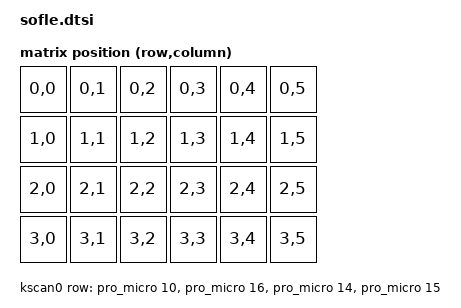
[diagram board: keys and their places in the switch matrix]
/*
 * Copyright (c) 2020 The ZMK Contributors
 *
 * SPDX-License-Identifier: MIT
 */

#include <dt-bindings/zmk/matrix_transform.h>
#include <zephyr/dt-bindings/input/input-event-codes.h>
/* Reference: https://docs.zephyrproject.org/apidoc/latest/group__input__events.html */
#include <input/processors.dtsi>
#include "layouts.dtsi"
#include <dt-bindings/zmk/pointing.h>


&josefadamcik_sofle_layout {
    transform = <&default_transform>;
};

/ {
    chosen {
        zmk,kscan = &kscan0;
    };

    default_transform: keymap_transform_0 {
        compatible = "zmk,matrix-transform";
        columns = <6>;
        rows = <4>;


        map = <
            RC(0,0) RC(0,1) RC(0,2) RC(0,3) RC(0,4) RC(0,5)
            RC(1,0) RC(1,1) RC(1,2) RC(1,3) RC(1,4) RC(1,5)
            RC(2,0) RC(2,1) RC(2,2) RC(2,3) RC(2,4) RC(2,5)
            RC(3,0) RC(3,1) RC(3,2) RC(3,3) RC(3,4) RC(3,5)
        >;
    };

    kscan0: kscan {
        compatible = "zmk,kscan-gpio-matrix";
        wakeup-source;

        diode-direction = "row2col";

         row-gpios
            = <&pro_micro 10 GPIO_ACTIVE_HIGH>
            , <&pro_micro 16 GPIO_ACTIVE_HIGH>
            , <&pro_micro 14 GPIO_ACTIVE_HIGH>
            , <&pro_micro 15 GPIO_ACTIVE_HIGH>
            ;

    };
};


